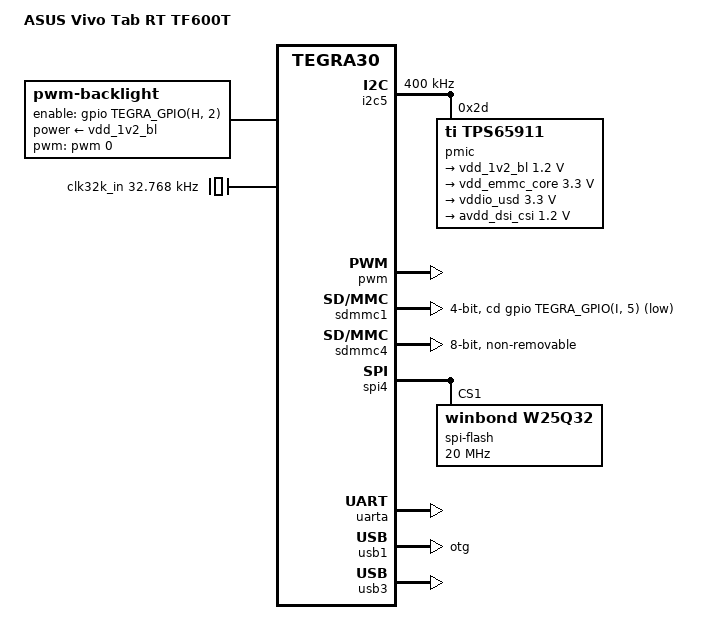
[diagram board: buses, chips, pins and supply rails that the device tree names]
// SPDX-License-Identifier: GPL-2.0
/dts-v1/;

#include <dt-bindings/input/input.h>

#include "tegra30.dtsi"

/ {
	model = "ASUS Vivo Tab RT TF600T";
	compatible = "asus,tf600t", "nvidia,tegra30";

	backlight {
		compatible = "pwm-backlight";

		enable-gpios = <&gpio TEGRA_GPIO(H, 2) GPIO_ACTIVE_HIGH>;
		power-supply = <&vdd_1v2_bl>;
		pwms = <&pwm 0 71428>;

		brightness-levels = <1 35 70 105 140 175 210 255>;
		default-brightness-level = <5>;
	};

	/* PMIC has a built-in 32KHz oscillator which is used by PMC */
	clk32k_in: clock-32k {
		compatible = "fixed-clock";
		#clock-cells = <0>;
		clock-frequency = <32768>;
		clock-output-names = "pmic-oscillator";
	};

	gpio-keys {
		key-power {
			label = "Power";
			gpios = <&gpio TEGRA_GPIO(V, 0) GPIO_ACTIVE_LOW>;
			linux,code = <KEY_ENTER>;
		};

		key-volume-down {
			label = "Volume Down";
			gpios = <&gpio TEGRA_GPIO(Q, 4) GPIO_ACTIVE_LOW>;
			linux,code = <KEY_DOWN>;
		};

		key-volume-up {
			label = "Volume Up";
			gpios = <&gpio TEGRA_GPIO(Q, 3) GPIO_ACTIVE_LOW>;
			linux,code = <KEY_UP>;
		};
	};
};

&aliases {
	mmc0 = &sdmmc4;	/* eMMC */
	mmc1 = &sdmmc1; /* uSD slot */

	spi0 = &spi4;

	usb0 = &usb1;
	usb1 = &usb3; /* Dock's USB port */
};

&chosen {
	stdout-path = &uarta;
};

&i2c5 {
	status = "okay";
	clock-frequency = <400000>;

	/* Texas Instruments TPS659110 PMIC */
	pmic: tps65911@2d {
		compatible = "ti,tps65911";
		reg = <0x2d>;

		interrupts = <GIC_SPI 86 IRQ_TYPE_LEVEL_HIGH>;
		#interrupt-cells = <2>;
		interrupt-controller;

		ti,system-power-controller;

		#gpio-cells = <2>;
		gpio-controller;

		regulators {
			vdd_1v2_bl: vdd1 {
				regulator-name = "vdd_1v2_backlight";
				regulator-min-microvolt = <1200000>;
				regulator-max-microvolt = <1200000>;
				regulator-always-on;
				regulator-boot-on;
				ti,regulator-ext-sleep-control = <8>;
			};

			/* eMMC VDD */
			ldo1 {
				regulator-name = "vdd_emmc_core";
				regulator-min-microvolt = <3300000>;
				regulator-max-microvolt = <3300000>;
				regulator-always-on;
			};

			/* uSD slot VDDIO */
			vddio_usd: ldo5 {
				regulator-name = "vddio_sdmmc";
				regulator-min-microvolt = <3300000>;
				regulator-max-microvolt = <3300000>;
			};

			avdd_dsi_csi: ldo6 {
				regulator-name = "avdd_dsi_csi";
				regulator-min-microvolt = <1200000>;
				regulator-max-microvolt = <1200000>;
			};
		};
	};
};

&memory {
		reg = <0x80000000 0x80000000>;
};

&pwm {
	status = "okay";
};

&sdmmc1 {
	status = "okay";
	bus-width = <4>;

	cd-gpios = <&gpio TEGRA_GPIO(I, 5) GPIO_ACTIVE_LOW>;
	power-gpios = <&gpio TEGRA_GPIO(D, 7) GPIO_ACTIVE_HIGH>;

	vqmmc-supply = <&vddio_usd>;
};

&sdmmc4 {
	status = "okay";
	bus-width = <8>;
	non-removable;
};

&spi4 {
	status = "okay";
	spi-max-frequency = <25000000>;

	spi-flash@1 {
		compatible = "winbond,w25q32", "jedec,spi-nor";
		reg = <1>;
		spi-max-frequency = <20000000>;
	};
};

&uarta {
	status = "okay";
};

/* USB via ASUS connector */
&usb1 {
	status = "okay";
	dr_mode = "otg";
};

/* Dock's USB port */
&usb3 {
	status = "okay";
};
